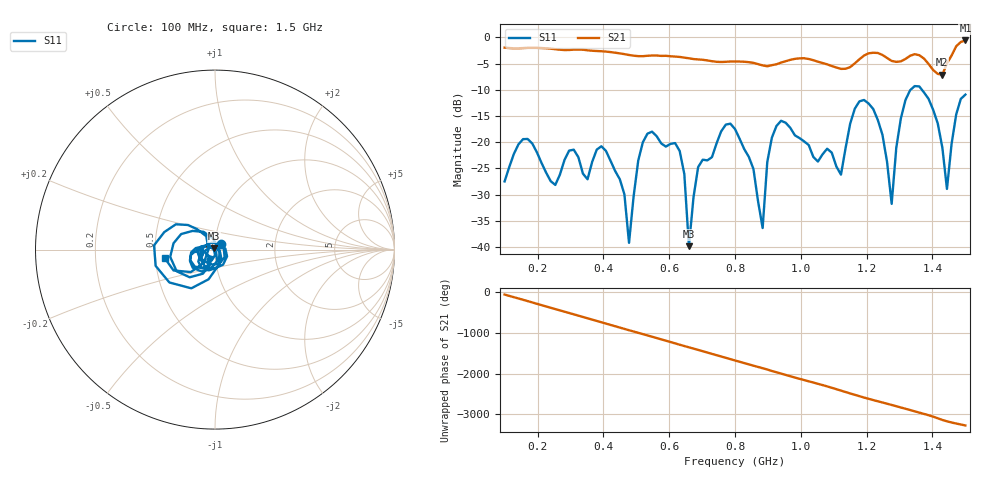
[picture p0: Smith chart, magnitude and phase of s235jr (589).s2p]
! NanoVNA-App
! Date: 2025-09-25 15:08:45
! Start: 100MHz Stop: 1,5GHz Points: 101
! S-Parameter data: F S11 S21 S12 S22
# Hz S RI R 50
!  Frequency  S11_Real  S11_Imag  S21_Real  S21_Imag  S12_Real  S12_Imag  S22_Real  S22_Imag
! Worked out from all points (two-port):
!   101 points, 100 MHz to 1.5 GHz, reference 50 ohm
!   highest |S21| = -0.59 dB at 1.5 GHz (marker M1); lowest = -7.1 dB at 1.43 GHz (marker M2)
!   |S21| within 3 dB of the highest: start of sweep to 601.5 MHz; 1.19 GHz to 1.254 GHz (64 MHz wide, 5.24 % of centre) (the widest 2 of 4)
!   lowest |S11| = -39.8 dB at 660 MHz (marker M3), VSWR 1.02, Z = 49.2 + j0.61 ohm
!   |S11| at or under -10 dB: start of sweep to 1.333 GHz; 1.368 GHz to end of sweep
!   S12 and S22 are empty: the file has one direction only
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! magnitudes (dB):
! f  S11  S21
! 100 MHz  -27.5  -2.0
! 156 MHz  -19.4  -2.0
! 338 MHz  -26.0  -2.4
! 408 MHz  -21.7  -2.7
! 478 MHz  -39.2  -3.4
! 520 MHz  -20.0  -3.6
! 576 MHz  -20.2  -3.5
! 632 MHz  -21.7  -3.7
! 660 MHz  -39.8  -4.0
! 688 MHz  -24.7  -4.2
! 800 MHz  -17.5  -4.6
! 884 MHz  -36.4  -5.4
! 926 MHz  -16.9  -5.1
! 1.038 GHz  -22.8  -4.4
! 1.122 GHz  -26.2  -6.0
! 1.192 GHz  -11.9  -3.5
! 1.248 GHz  -18.6  -3.4
! 1.276 GHz  -31.8  -4.5
! 1.332 GHz  -10.1  -3.5
! 1.43 GHz  -21.0  -7.1
! 1.444 GHz  -28.9  -5.0
! 1.5 GHz  -10.9  -0.6
